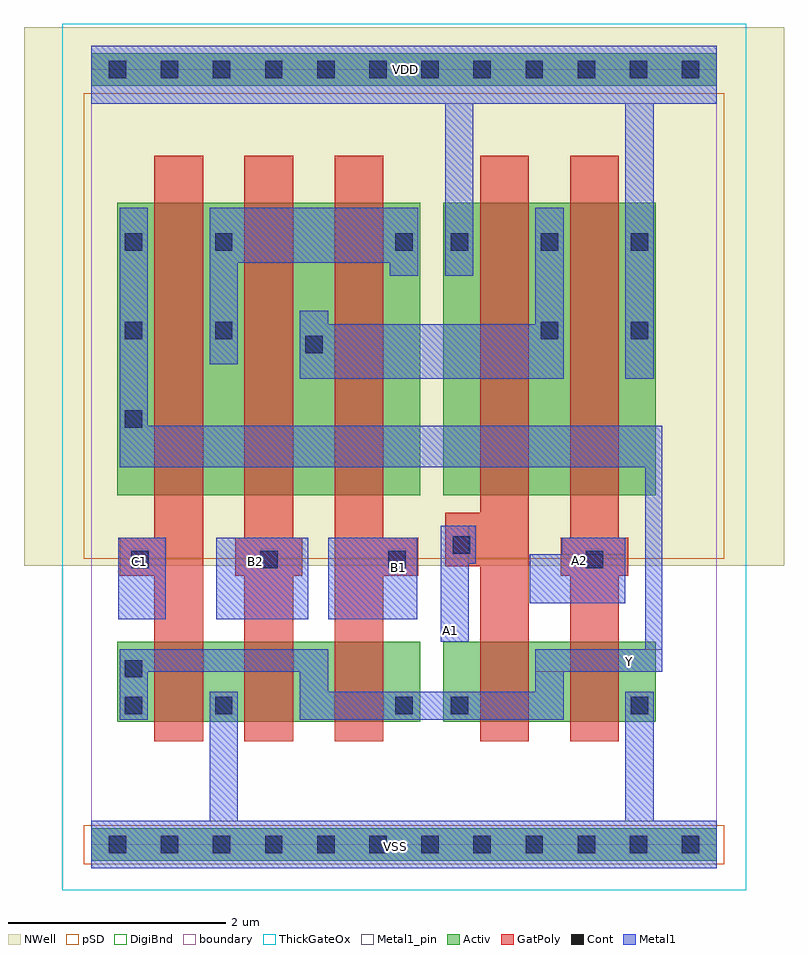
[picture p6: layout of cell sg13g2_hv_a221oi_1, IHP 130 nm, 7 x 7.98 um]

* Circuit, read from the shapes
.subckt sg13g2_hv_a221oi_1 A1 A2 B1 B2 C1 VDD VSS Y
XM1 VSS C1 Y VSS sg13_hv_nmos w=0.74u l=0.45u
XM2 n1 B2 VSS VSS sg13_hv_nmos w=0.74u l=0.45u
XM3 Y B1 n1 VSS sg13_hv_nmos w=0.74u l=0.45u
XM4 n2 A1 Y VSS sg13_hv_nmos w=0.74u l=0.45u
XM5 VSS A2 n2 VSS sg13_hv_nmos w=0.74u l=0.45u
XM6 n3 C1 Y VDD sg13_hv_pmos w=2.69u l=0.45u
XM7 n4 B2 n3 VDD sg13_hv_pmos w=2.69u l=0.45u
XM8 n3 B1 n4 VDD sg13_hv_pmos w=2.69u l=0.45u
XM9 n4 A1 VDD VDD sg13_hv_pmos w=2.69u l=0.45u
XM10 VDD A2 n4 VDD sg13_hv_pmos w=2.69u l=0.45u
.ends

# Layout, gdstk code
import gdstk
lib = gdstk.Library(unit=1e-6, precision=1e-09)
def R(c, l, rs):  # rectangles x0, y0, x1, y1
    for r in rs: c.add(gdstk.rectangle(r[:2], r[2:], *l))
def A(c, l, x, y, w, h, nx, ny, dx, dy):  # array of equal rectangles
    R(c, l, [(x+i*dx, y+j*dy, x+i*dx+w, y+j*dy+h) for i in range(nx) for j in range(ny)])
def P(c, l, *ps):  # polygons
    for p in ps: c.add(gdstk.Polygon(p, *l))
Activ = (1, 0)
GatPoly = (5, 0)
Cont = (6, 0)
Metal1 = (8, 0)
Metal1_pin = (8, 2)
pSD = (14, 0)
DigiBnd = (16, 0)
NWell = (31, 0)
ThickGateOx = (44, 0)
boundary = (189, 4)

sg13g2_hv_a221oi_1 = lib.new_cell('sg13g2_hv_a221oi_1')
R(sg13g2_hv_a221oi_1, Activ, [(0,-0.15,5.76,0.15), (0.24,1.13,3.03,1.87), (3.24,1.13,5.2,1.87), (0.24,3.22,3.03,5.91), (3.24,3.22,5.2,5.91), (0,6.99,5.76,7.29)])
P(sg13g2_hv_a221oi_1, GatPoly, [(2.24,0.95),(2.24,6.345),(2.69,6.345),(2.69,2.825),(3.01,2.825),(3.01,2.475),(2.69,2.475),(2.69,0.95)],
  [(0.58,0.95),(0.58,2.475),(0.26,2.475),(0.26,2.825),(0.58,2.825),(0.58,6.345),(1.03,6.345),(1.03,0.95)],
  [(4.41,0.95),(4.41,2.475),(4.325,2.475),(4.325,2.825),(4.41,2.825),(4.41,6.345),(4.86,6.345),(4.86,2.825),(4.945,2.825),(4.945,2.475),(4.86,2.475),(4.86,0.95)],
  [(1.41,0.95),(1.41,2.475),(1.325,2.475),(1.325,2.825),(1.41,2.825),(1.41,6.345),(1.86,6.345),(1.86,2.825),(1.945,2.825),(1.945,2.475),(1.86,2.475),(1.86,0.95)],
  [(3.58,0.95),(3.58,2.565),(3.26,2.565),(3.26,3.055),(3.58,3.055),(3.58,6.345),(4.03,6.345),(4.03,0.95)])
A(sg13g2_hv_a221oi_1, Cont, 0.16, -0.08, 0.16, 0.16, 12, 2, 0.48, 7.14)
A(sg13g2_hv_a221oi_1, Cont, 0.31, 3.84, 0.16, 0.16, 1, 3, 0, 0.815)
A(sg13g2_hv_a221oi_1, Cont, 3.31, 5.47, 0.16, 0.16, 3, 1, 0.83, 0)
R(sg13g2_hv_a221oi_1, Cont, [(0.31,1.2,0.47,1.36), (1.14,1.2,1.3,1.36), (2.8,1.2,2.96,1.36), (3.31,1.2,3.47,1.36), (4.97,1.2,5.13,1.36), (0.31,1.54,0.47,1.7), (0.37,2.545,0.53,2.705), (1.555,2.545,1.715,2.705), (2.735,2.545,2.895,2.705), (4.555,2.545,4.715,2.705), (3.33,2.68,3.49,2.84), (1.97,4.525,2.13,4.685), (1.14,4.655,1.3,4.815), (4.14,4.655,4.3,4.815), (4.97,4.655,5.13,4.815), (1.14,5.47,1.3,5.63), (2.8,5.47,2.96,5.63)])
R(sg13g2_hv_a221oi_1, Metal1, [(0.25,2.075,0.685,2.825), (1.15,2.075,2,2.825), (2.18,2.075,3,2.825)])
P(sg13g2_hv_a221oi_1, Metal1, [(4.92,4.29),(4.92,6.825),(3.52,6.825),(3.52,5.24),(3.26,5.24),(3.26,6.825),(0,6.825),(0,7.36),(5.76,7.36),(5.76,6.825),(5.18,6.825),(5.18,4.29)],
  [(1.09,4.425),(1.09,5.865),(3.01,5.865),(3.01,5.24),(2.75,5.24),(2.75,5.36),(1.35,5.36),(1.35,4.425)],
  [(0.26,1.15),(0.26,1.8),(2.18,1.8),(2.18,1.41),(4.09,1.41),(4.09,1.8),(5.1,1.8),(5.1,3.475),(0.26,3.475),(0.26,5.865),(0.52,5.865),(0.52,3.86),(5.26,3.86),(5.26,1.59),(4.35,1.59),(4.35,1.15),(1.92,1.15),(1.92,1.59),(0.52,1.59),(0.52,1.15)],
  [(4.04,2.225),(4.04,2.675),(4.335,2.675),(4.335,2.825),(4.92,2.825),(4.92,2.225)],
  [(1.92,4.29),(1.92,4.915),(2.18,4.915),(2.18,4.795),(4.09,4.795),(4.09,5.865),(4.35,5.865),(4.35,4.29)],
  [(3.22,1.87),(3.22,2.935),(3.54,2.935),(3.54,2.585),(3.475,2.585),(3.475,1.87)],
  [(0,-0.22),(0,0.22),(1.09,0.22),(1.09,1.41),(1.35,1.41),(1.35,0.22),(4.92,0.22),(4.92,1.41),(5.18,1.41),(5.18,0.22),(5.76,0.22),(5.76,-0.22)])
R(sg13g2_hv_a221oi_1, Metal1_pin, [(0,-0.22,5.76,0.22), (4.09,1.59,5.26,1.8), (3.22,1.87,3.475,2.935), (0.25,2.075,0.685,2.825), (1.15,2.075,2,2.825), (2.18,2.075,3,2.825), (4.04,2.225,4.92,2.675), (0,6.825,5.76,7.36)])
R(sg13g2_hv_a221oi_1, pSD, [(-0.07,-0.18,5.83,0.18), (-0.07,2.635,5.83,6.92)])
R(sg13g2_hv_a221oi_1, DigiBnd, [(0,0,5.76,7.14)])
R(sg13g2_hv_a221oi_1, NWell, [(-0.62,2.57,6.38,7.53)])
R(sg13g2_hv_a221oi_1, ThickGateOx, [(-0.27,-0.42,6.03,7.56)])
R(sg13g2_hv_a221oi_1, boundary, [(0,0,5.76,7.14)])
sg13g2_hv_a221oi_1.add(gdstk.Label('C1', (0.445,2.61), layer=8, texttype=25))
sg13g2_hv_a221oi_1.add(gdstk.Label('Y', (4.96,1.69), layer=8, texttype=25))
sg13g2_hv_a221oi_1.add(gdstk.Label('B2', (1.515,2.61), layer=8, texttype=25))
sg13g2_hv_a221oi_1.add(gdstk.Label('B1', (2.825,2.555), layer=8, texttype=25))
sg13g2_hv_a221oi_1.add(gdstk.Label('A2', (4.495,2.615), layer=8, texttype=25))
sg13g2_hv_a221oi_1.add(gdstk.Label('VDD', (2.89,7.14), layer=8, texttype=25))
sg13g2_hv_a221oi_1.add(gdstk.Label('A1', (3.31,1.97), layer=8, texttype=25))
sg13g2_hv_a221oi_1.add(gdstk.Label('VSS', (2.8,-0.02), layer=8, texttype=25))

lib.write_gds('sg13g2_hv_a221oi_1.gds')
